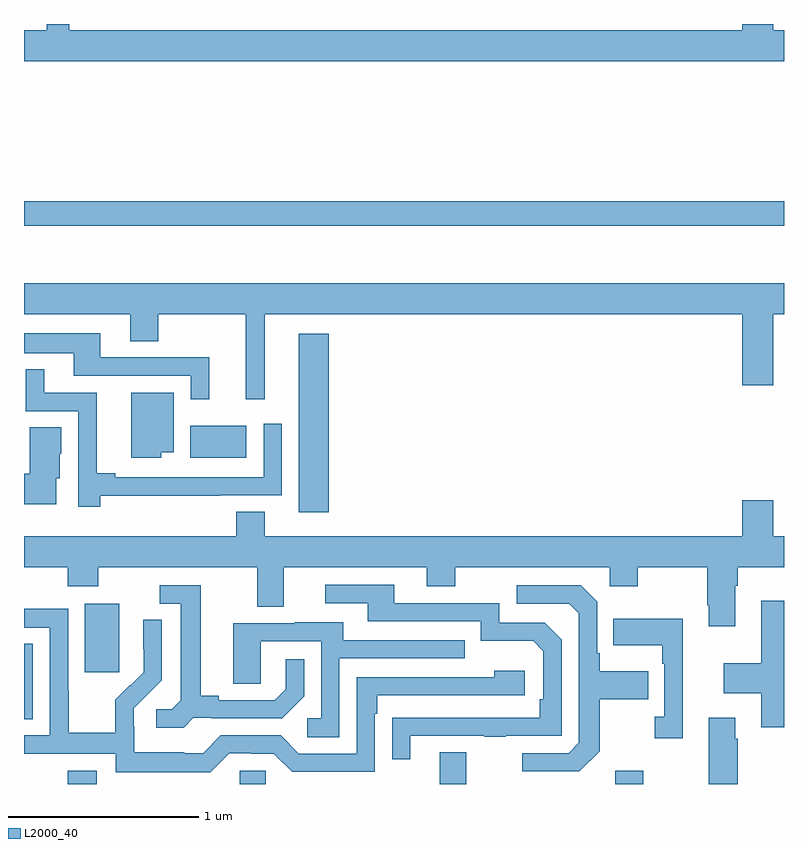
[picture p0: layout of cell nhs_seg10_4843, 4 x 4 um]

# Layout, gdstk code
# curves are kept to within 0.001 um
import gdstk
lib = gdstk.Library(unit=1e-6, precision=1e-09)
def R(c, l, rs):  # rectangles x0, y0, x1, y1
    for r in rs: c.add(gdstk.rectangle(r[:2], r[2:], *l))
def P(c, l, *ps):  # polygons
    for p in ps: c.add(gdstk.Polygon(p, *l))
L2000_40 = (2000, 40)

nhs_seg10_4843 = lib.new_cell('nhs_seg10_4843')
R(nhs_seg10_4843, L2000_40, [(389.231,1308.5,389.383,1308.571), (390.135,1308.5,390.273,1308.57), (391.187,1308.5,391.327,1308.667), (392.111,1308.5,392.259,1308.571), (389,1308.841,389.047,1309.238), (389.321,1309.089,389.5,1309.45), (390.446,1309.929,390.605,1310.869), (389.876,1310.216,390.169,1310.386), (389,1311.438,393,1311.566)])
P(nhs_seg10_4843, L2000_40, [(393,1312.468),(392.944,1312.468),(392.944,1312.5),(392.78,1312.5),(392.78,1312.468),(389.237,1312.468),(389.237,1312.5),(389.12,1312.5),(389.12,1312.468),(389,1312.468),(389,1312.304),(393,1312.304)],
  [(390.266,1310.972),(392.78,1310.972),(392.78,1310.598),(392.944,1310.598),(392.944,1310.972),(393,1310.972),(393,1311.136),(389,1311.136),(389,1310.972),(389.558,1310.972),(389.558,1310.83),(389.706,1310.83),(389.706,1310.972),(390.167,1310.972),(390.167,1310.526),(390.266,1310.526)],
  [(389.975,1310.745),(389.401,1310.745),(389.401,1310.872),(389,1310.872),(389,1310.768),(389.261,1310.768),(389.261,1310.649),(389.877,1310.649),(389.877,1310.526),(389.975,1310.526)],
  [(389.402,1310.018),(390.032,1310.018),(390.032,1310.019),(390.357,1310.019),(390.357,1310.395),(390.261,1310.395),(390.261,1310.115),(389.479,1310.115),(389.479,1310.135),(389.384,1310.135),(389.384,1310.559),(389.107,1310.559),(389.107,1310.683),(389.009,1310.683),(389.009,1310.463),(389.286,1310.463),(389.286,1309.959),(389.402,1309.959)],
  [(389.722,1310.246),(389.788,1310.246),(389.788,1310.56),(389.564,1310.56),(389.564,1310.216),(389.722,1310.216)],
  [(389.17,1310.109),(389.188,1310.109),(389.188,1310.238),(389.197,1310.238),(389.197,1310.378),(389.03,1310.378),(389.03,1310.134),(389,1310.134),(389,1309.973),(389.17,1309.973)],
  [(392.743,1309.544),(392.756,1309.544),(392.756,1309.64),(393,1309.64),(393,1309.804),(392.944,1309.804),(392.944,1309.993),(392.78,1309.993),(392.78,1309.804),(390.268,1309.804),(390.268,1309.934),(390.116,1309.934),(390.116,1309.804),(389,1309.804),(389,1309.64),(389.231,1309.64),(389.231,1309.541),(389.391,1309.541),(389.391,1309.64),(390.227,1309.64),(390.227,1309.432),(390.367,1309.432),(390.367,1309.64),(391.121,1309.64),(391.121,1309.541),(391.269,1309.541),(391.269,1309.64),(392.082,1309.64),(392.082,1309.541),(392.229,1309.541),(392.229,1309.64),(392.596,1309.64),(392.596,1309.441),(392.603,1309.441),(392.603,1309.329),(392.743,1309.329)],
  [(391.033,1308.753),(391.423,1308.753),(391.423,1308.748),(391.535,1308.748),(391.535,1308.753),(391.83,1308.753),(391.83,1309.26),(391.74,1309.35),(391.5,1309.35),(391.5,1309.452),(390.949,1309.452),(390.949,1309.548),(390.585,1309.548),(390.585,1309.452),(390.809,1309.452),(390.809,1309.356),(391.404,1309.356),(391.404,1309.253),(391.681,1309.253),(391.734,1309.2),(391.734,1308.946),(391.714,1308.946),(391.714,1308.849),(390.937,1308.848),(390.937,1308.63),(391.033,1308.63)],
  [(389.892,1308.849),(389.986,1308.849),(389.986,1308.846),(390.358,1308.846),(390.474,1308.962),(390.474,1309.156),(390.377,1309.156),(390.377,1308.999),(390.32,1308.942),(390.025,1308.942),(390.025,1308.965),(389.929,1308.965),(389.929,1309.545),(389.715,1309.545),(389.715,1309.449),(389.825,1309.449),(389.825,1308.941),(389.778,1308.894),(389.697,1308.894),(389.697,1308.797),(389.84,1308.797)],
  [(392.029,1308.673),(392.029,1308.946),(392.285,1308.946),(392.285,1309.093),(392.029,1309.093),(392.029,1309.189),(392.016,1309.189),(392.016,1309.458),(391.929,1309.545),(391.593,1309.545),(391.593,1309.449),(391.869,1309.449),(391.92,1309.398),(391.92,1308.717),(391.866,1308.663),(391.623,1308.663),(391.623,1308.567),(391.923,1308.567)],
  [(393,1309.465),(392.879,1309.465),(392.879,1309.135),(392.682,1309.135),(392.682,1308.977),(392.879,1308.977),(392.879,1308.798),(393,1308.798)],
  [(390.081,1308.663),(390.197,1308.663),(390.197,1308.66),(390.315,1308.66),(390.411,1308.564),(390.846,1308.564),(390.846,1308.869),(390.859,1308.869),(390.859,1308.966),(391.636,1308.966),(391.636,1309.096),(391.475,1309.096),(391.475,1309.062),(390.75,1309.062),(390.75,1308.66),(390.447,1308.66),(390.351,1308.756),(390.036,1308.756),(389.943,1308.663),(389.843,1308.663),(389.843,1308.667),(389.58,1308.667),(389.58,1308.801),(389.578,1308.801),(389.578,1308.898),(389.724,1309.046),(389.724,1309.364),(389.628,1309.364),(389.628,1309.21),(389.63,1309.21),(389.63,1309.088),(389.559,1309.017),(389.556,1309.02),(389.479,1308.943),(389.479,1308.769),(389.235,1308.769),(389.235,1308.992),(389.232,1308.992),(389.232,1309.422),(389,1309.422),(389,1309.323),(389.136,1309.323),(389.136,1308.756),(389,1308.756),(389,1308.66),(389.484,1308.66),(389.484,1308.563),(389.981,1308.563)],
  [(392.468,1309.369),(392.101,1309.369),(392.101,1309.229),(392.358,1309.229),(392.358,1309.133),(392.37,1309.133),(392.37,1308.854),(392.319,1308.854),(392.319,1308.741),(392.468,1308.741)],
  [(390.66,1309.161),(391.319,1309.161),(391.319,1309.257),(390.679,1309.257),(390.679,1309.351),(390.425,1309.351),(390.425,1309.347),(390.101,1309.347),(390.101,1309.027),(390.246,1309.027),(390.246,1309.251),(390.564,1309.251),(390.564,1308.846),(390.492,1308.846),(390.492,1308.745),(390.66,1308.745)],
  [(392.756,1308.737),(392.743,1308.737),(392.743,1308.85),(392.603,1308.85),(392.603,1308.5),(392.756,1308.5)])

lib.write_gds('nhs_seg10_4843.gds')
